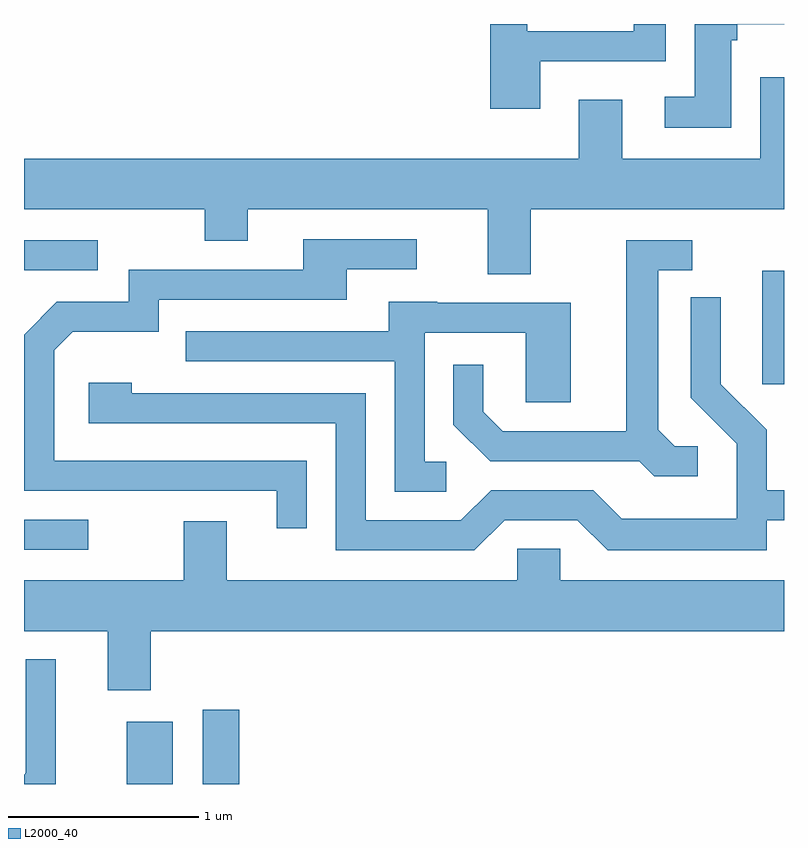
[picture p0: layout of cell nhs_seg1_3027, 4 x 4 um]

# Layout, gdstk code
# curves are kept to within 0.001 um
import gdstk
lib = gdstk.Library(unit=1e-6, precision=1e-09)
def R(c, l, rs):  # rectangles x0, y0, x1, y1
    for r in rs: c.add(gdstk.rectangle(r[:2], r[2:], *l))
def P(c, l, *ps):  # polygons
    for p in ps: c.add(gdstk.Polygon(p, *l))
L2000_40 = (2000, 40)

nhs_seg1_3027 = lib.new_cell('nhs_seg1_3027')
R(nhs_seg1_3027, L2000_40, [(278.151,847.712,278.394,848.039), (278.551,847.712,278.744,848.104), (277.611,848.946,277.948,849.104), (281.496,849.816,281.611,850.414), (277.611,850.416,277.998,850.574)])
P(nhs_seg1_3027, L2000_40, [(281.334,851.626),(281.364,851.626),(281.364,851.711),(281.611,851.711),(281.611,851.712),(281.141,851.712),(281.141,851.329),(280.983,851.329),(280.983,851.166),(281.334,851.166)],
  [(280.329,851.516),(280.989,851.516),(280.989,851.712),(280.821,851.712),(280.821,851.674),(280.259,851.674),(280.259,851.712),(280.066,851.712),(280.066,851.266),(280.329,851.266)],
  [(280.279,850.736),(281.611,850.736),(281.611,851.433),(281.486,851.433),(281.486,851.004),(280.759,851.004),(280.759,851.314),(280.531,851.314),(280.531,851.004),(277.611,851.004),(277.611,850.736),(278.561,850.736),(278.561,850.571),(278.789,850.571),(278.789,850.736),(280.051,850.736),(280.051,850.396),(280.279,850.396)],
  [(279.099,849.414),(277.769,849.414),(277.769,849.994),(277.867,850.091),(278.319,850.091),(278.319,850.261),(279.309,850.261),(279.309,850.421),(279.678,850.421),(279.678,850.579),(279.081,850.579),(279.081,850.419),(278.161,850.419),(278.161,850.249),(277.784,850.249),(277.611,850.077),(277.611,849.256),(278.941,849.256),(278.941,849.058),(279.099,849.058)],
  [(281.158,849.489),(281.037,849.489),(280.949,849.577),(280.949,850.416),(281.128,850.416),(281.128,850.574),(280.781,850.574),(280.781,849.569),(280.132,849.569),(280.029,849.672),(280.029,849.918),(279.871,849.918),(279.871,849.604),(280.064,849.411),(280.849,849.411),(280.929,849.331),(281.158,849.331)],
  [(280.142,849.101),(280.524,849.101),(280.684,848.941),(281.519,848.941),(281.519,849.101),(281.611,849.101),(281.611,849.259),(281.519,849.259),(281.519,849.577),(281.279,849.817),(281.279,850.273),(281.121,850.273),(281.121,849.744),(281.361,849.504),(281.361,849.109),(280.757,849.109),(280.607,849.259),(280.069,849.259),(279.909,849.099),(279.409,849.099),(279.409,849.769),(278.179,849.769),(278.179,849.824),(277.951,849.824),(277.951,849.611),(279.251,849.611),(279.251,848.941),(279.982,848.941)],
  [(279.833,849.409),(279.719,849.409),(279.719,850.086),(280.251,850.086),(280.251,849.721),(280.489,849.721),(280.489,850.244),(279.785,850.244),(279.785,850.249),(279.531,850.249),(279.531,850.094),(278.463,850.094),(278.463,849.936),(279.561,849.936),(279.561,849.251),(279.833,849.251)],
  [(278.279,848.516),(281.611,848.516),(281.611,848.784),(280.434,848.784),(280.434,848.949),(280.206,848.949),(280.206,848.784),(278.679,848.784),(278.679,849.094),(278.451,849.094),(278.451,848.784),(277.611,848.784),(277.611,848.516),(278.051,848.516),(278.051,848.206),(278.279,848.206)],
  [(277.779,848.368),(277.621,848.368),(277.621,847.772),(277.611,847.762),(277.611,847.712),(277.779,847.712)])

lib.write_gds('nhs_seg1_3027.gds')
